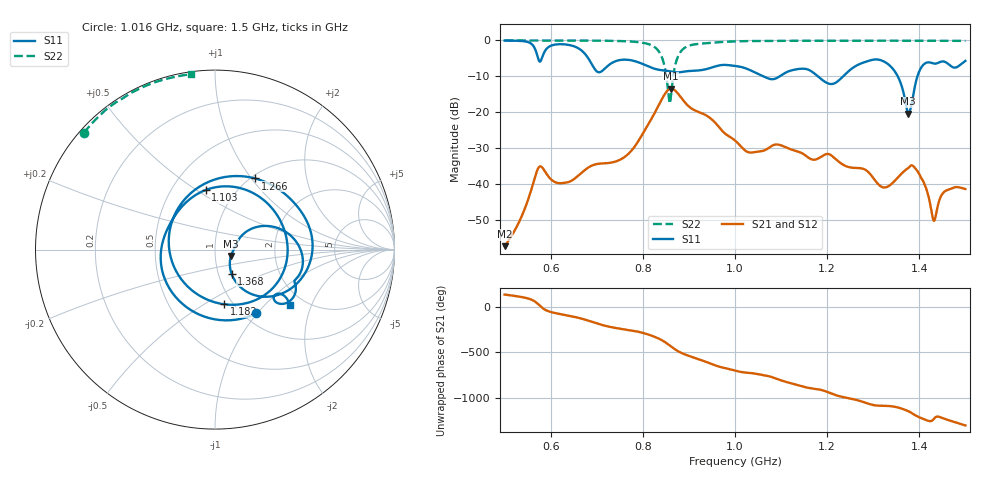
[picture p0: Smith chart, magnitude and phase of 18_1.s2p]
! TOUCHSTONE file generated by CST MICROWAVE STUDIO
! Date and time: Sat Nov 14 20:36:54 2020
! Project name: Scenario_1_Planar_Body_Tissue_Out_of_Line_v2.cst
! Parameters = {dy1=51.9; L_HA=400; Ltissue=700; MT=2.54; Rad_Dielectric=30; Rad_Lower=7.3; Rad_Upper=30; Wtissue=700; a_HA=580; a_WG=246; b_HA=500; b_WG=121; c_HA=0; c_WG=187; d_feed=85; dx1=173; h_feed=15; h_lower=18; h_upper=40; hfat=3; hgap=25; hmuscle=50; hskin=1.5}
! Header version: 2018
! Port assignment regex: !\s*Touchstone port\s*([0-9]+)\s*=\s*(CST MWS port|CST DS port)\s*([0-9]+|Zmin|Zmax)\s*\(\"(.*)\"\)(\s*mode\s*([0-9]+))?.*
! Touchstone port assignment:
! Touchstone port 1 = CST MWS port 1 ("")
! Touchstone port 2 = CST MWS port 2 ("")
# GHz S DB R 50
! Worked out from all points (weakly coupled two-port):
!   1003 points, 500 MHz to 1.5 GHz, reference 50 ohm
!   highest |S21| = -13.41 dB at 861 MHz (marker M1); lowest = -57.2 dB at 500 MHz (marker M2)
!   lowest |S11| = -20.4 dB at 1.376 GHz (marker M3), VSWR 1.21, Z = 59.6 - j4.36 ohm
!   |S11| at or under -10 dB: 1.062 GHz to 1.097 GHz (35.04 MHz wide, 3.25 % of centre); 1.18 GHz to 1.235 GHz (54.54 MHz wide, 4.52 % of centre); 1.353 GHz to 1.396 GHz (42.55 MHz wide, 3.1 % of centre)
!   |S22| runs from -17.5 to 0.0 dB; largest |S21 - S12| = 4.5e-05
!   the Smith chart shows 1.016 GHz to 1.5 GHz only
!   S11 on the Smith chart (normalised r, x): 1.016 GHz: 1.14, -0.99; 1.103 GHz: 0.73, +0.54; 1.182 GHz: 0.91, -0.61; 1.266 GHz: 1.04, +1.04; 1.368 GHz: 1.16, -0.32; 1.5 GHz: 1.67, -1.42
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0.5  -0.04 -121.8  -57.21 131.3  -57.21 131.3  -0.01 151.2
0.575  -5.74 -162.6  -35.16 15.8  -35.16 15.8  -0.02 146.0
0.627  -1.07 173.0  -39.65 -89.5  -39.65 -89.4  -0.03 142.0
0.667  -2.80 108.4  -36.82 -132.0  -36.82 -132.0  -0.04 138.4
0.693  -7.44 20.1  -34.62 -173.2  -34.62 -173.2  -0.06 135.7
0.717  -7.88 -96.6  -34.17 151.1  -34.17 151.1  -0.09 132.7
0.756  -5.36 166.2  -32.79 112.8  -32.79 112.8  -0.19 126.4
0.834  -8.15 13.5  -18.13 10.6  -18.13 10.6  -2.93 84.3
0.861  -8.64 -58.1  -13.41 -76.3  -13.41 -76.3  -15.48 -89.6
0.888  -8.70 -131.8  -16.71 -157.2  -16.71 -157.2  -2.32 178.6
0.946  -7.68 86.0  -21.58 97.4  -21.58 97.4  -0.68 149.5
1  -7.09 -25.5  -27.83 19.5  -27.83 19.5  -0.27 140.5
1.016  -7.47 -57.1  -29.90 1.9  -29.90 1.9  -0.20 138.3
1.103  -9.48 99.0  -29.32 -92.4  -29.32 -92.4  -0.12 129.5
1.167  -8.69 -46.9  -33.10 -175.2  -33.10 -175.2  -0.10 124.1
1.182  -10.22 -80.7  -32.74 173.6  -32.74 173.6  -0.10 122.9
1.266  -6.84 60.6  -35.48 54.8  -35.48 54.8  -0.09 116.7
1.334  -6.78 -30.9  -40.47 -8.2  -40.47 -8.2  -0.08 111.5
1.368  -15.81 -55.4  -36.26 -48.0  -36.26 -48.0  -0.08 108.9
1.376  -20.37 -22.2  -35.46 -64.4  -35.46 -64.4  -0.09 108.2
1.432  -6.43 -20.7  -50.20 -146.3  -50.20 -146.3  -0.10 103.8
1.5  -5.70 -36.7  -41.32 139.2  -41.32 139.2  -0.12 97.9
